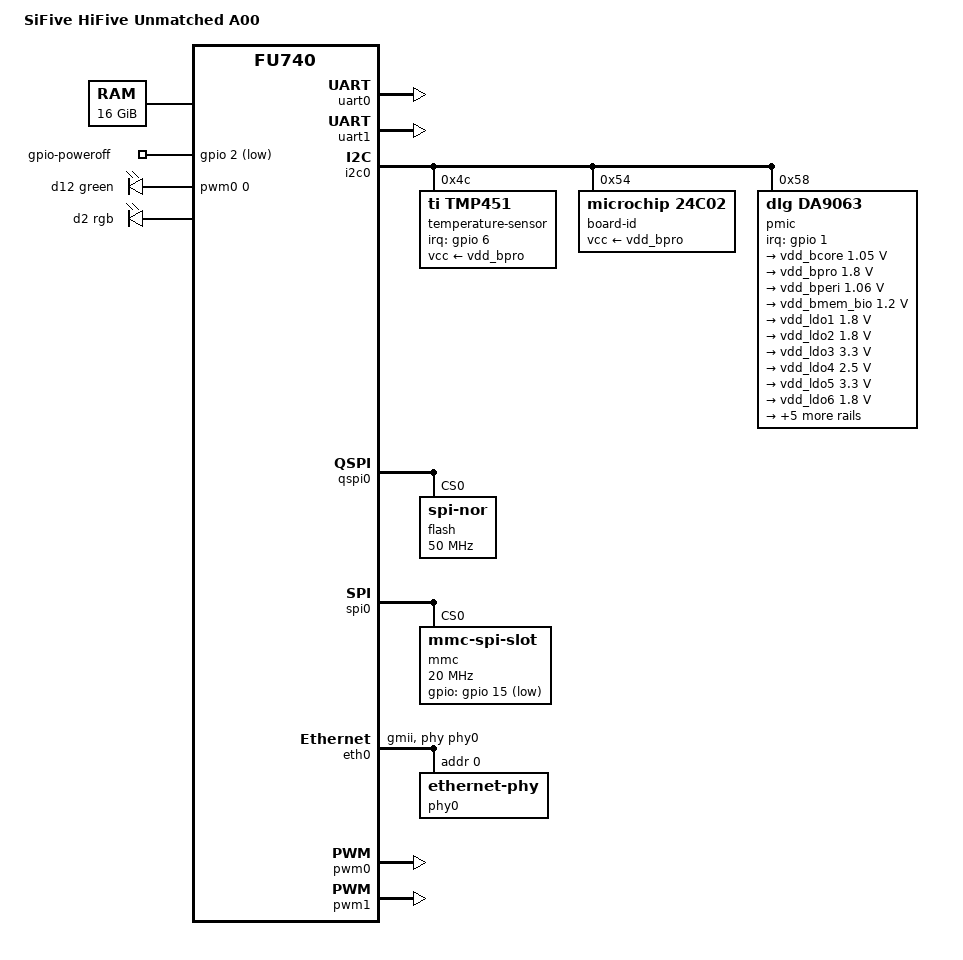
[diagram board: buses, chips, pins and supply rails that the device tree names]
// SPDX-License-Identifier: (GPL-2.0 OR MIT)
/* Copyright (c) 2020 SiFive, Inc */

#include "fu740-c000.dtsi"
#include <dt-bindings/gpio/gpio.h>
#include <dt-bindings/interrupt-controller/irq.h>
#include <dt-bindings/leds/common.h>
#include <dt-bindings/pwm/pwm.h>

/* Clock frequency (in Hz) of the PCB crystal for rtcclk */
#define RTCCLK_FREQ		1000000

/ {
	model = "SiFive HiFive Unmatched A00";
	compatible = "sifive,hifive-unmatched-a00", "sifive,fu740-c000",
		     "sifive,fu740";

	chosen {
		stdout-path = "serial0";
	};

	cpus {
		timebase-frequency = <RTCCLK_FREQ>;
	};

	memory@80000000 {
		device_type = "memory";
		reg = <0x0 0x80000000 0x4 0x00000000>;
	};

	hfclk: hfclk {
		#clock-cells = <0>;
		compatible = "fixed-clock";
		clock-frequency = <26000000>;
		clock-output-names = "hfclk";
	};

	rtcclk: rtcclk {
		#clock-cells = <0>;
		compatible = "fixed-clock";
		clock-frequency = <RTCCLK_FREQ>;
		clock-output-names = "rtcclk";
	};

	gpio-poweroff {
		compatible = "gpio-poweroff";
		gpios = <&gpio 2 GPIO_ACTIVE_LOW>;
	};

	led-controller-1 {
		compatible = "pwm-leds";

		led-d12 {
			pwms = <&pwm0 0 7812500 PWM_POLARITY_INVERTED>;
			active-low;
			color = <LED_COLOR_ID_GREEN>;
			max-brightness = <255>;
			label = "d12";
		};
	};

	led-controller-2 {
		compatible = "pwm-leds-multicolor";

		multi-led {
			color = <LED_COLOR_ID_RGB>;
			max-brightness = <255>;
			label = "d2";

			led-red {
				pwms = <&pwm0 2 7812500 PWM_POLARITY_INVERTED>;
				active-low;
				color = <LED_COLOR_ID_RED>;
			};

			led-green {
				pwms = <&pwm0 1 7812500 PWM_POLARITY_INVERTED>;
				active-low;
				color = <LED_COLOR_ID_GREEN>;
			};

			led-blue {
				pwms = <&pwm0 3 7812500 PWM_POLARITY_INVERTED>;
				active-low;
				color = <LED_COLOR_ID_BLUE>;
			};
		};
	};
};

&uart0 {
	status = "okay";
};

&uart1 {
	status = "okay";
};

&i2c0 {
	status = "okay";

	temperature-sensor@4c {
		compatible = "ti,tmp451";
		reg = <0x4c>;
		vcc-supply = <&vdd_bpro>;
		interrupt-parent = <&gpio>;
		interrupts = <6 IRQ_TYPE_LEVEL_LOW>;
	};

	eeprom@54 {
		compatible = "microchip,24c02", "atmel,24c02";
		reg = <0x54>;
		vcc-supply = <&vdd_bpro>;
		label = "board-id";
		pagesize = <16>;
		read-only;
		size = <256>;
	};

	pmic@58 {
		compatible = "dlg,da9063";
		reg = <0x58>;
		interrupt-parent = <&gpio>;
		interrupts = <1 IRQ_TYPE_LEVEL_LOW>;
		interrupt-controller;

		onkey {
			compatible = "dlg,da9063-onkey";
		};

		rtc {
			compatible = "dlg,da9063-rtc";
		};

		watchdog {
			compatible = "dlg,da9063-watchdog";
		};

		regulators {
			vdd_bcore: bcores-merged {
				regulator-min-microvolt = <1050000>;
				regulator-max-microvolt = <1050000>;
				regulator-min-microamp = <4800000>;
				regulator-max-microamp = <4800000>;
				regulator-always-on;
			};

			vdd_bpro: bpro {
				regulator-min-microvolt = <1800000>;
				regulator-max-microvolt = <1800000>;
				regulator-min-microamp = <2400000>;
				regulator-max-microamp = <2400000>;
				regulator-always-on;
			};

			vdd_bperi: bperi {
				regulator-min-microvolt = <1060000>;
				regulator-max-microvolt = <1060000>;
				regulator-min-microamp = <1500000>;
				regulator-max-microamp = <1500000>;
				regulator-always-on;
			};

			vdd_bmem_bio: bmem-bio-merged {
				regulator-min-microvolt = <1200000>;
				regulator-max-microvolt = <1200000>;
				regulator-min-microamp = <3000000>;
				regulator-max-microamp = <3000000>;
				regulator-always-on;
			};

			vdd_ldo1: ldo1 {
				regulator-min-microvolt = <1800000>;
				regulator-max-microvolt = <1800000>;
				regulator-always-on;
			};

			vdd_ldo2: ldo2 {
				regulator-min-microvolt = <1800000>;
				regulator-max-microvolt = <1800000>;
				regulator-always-on;
			};

			vdd_ldo3: ldo3 {
				regulator-min-microvolt = <3300000>;
				regulator-max-microvolt = <3300000>;
				regulator-always-on;
			};

			vdd_ldo4: ldo4 {
				regulator-min-microvolt = <2500000>;
				regulator-max-microvolt = <2500000>;
				regulator-always-on;
			};

			vdd_ldo5: ldo5 {
				regulator-min-microvolt = <3300000>;
				regulator-max-microvolt = <3300000>;
				regulator-always-on;
			};

			vdd_ldo6: ldo6 {
				regulator-min-microvolt = <1800000>;
				regulator-max-microvolt = <1800000>;
				regulator-always-on;
			};

			vdd_ldo7: ldo7 {
				regulator-min-microvolt = <3300000>;
				regulator-max-microvolt = <3300000>;
				regulator-always-on;
			};

			vdd_ldo8: ldo8 {
				regulator-min-microvolt = <3300000>;
				regulator-max-microvolt = <3300000>;
				regulator-always-on;
			};

			vdd_ld09: ldo9 {
				regulator-min-microvolt = <1050000>;
				regulator-max-microvolt = <1050000>;
				regulator-always-on;
			};

			vdd_ldo10: ldo10 {
				regulator-min-microvolt = <1000000>;
				regulator-max-microvolt = <1000000>;
				regulator-always-on;
			};

			vdd_ldo11: ldo11 {
				regulator-min-microvolt = <2500000>;
				regulator-max-microvolt = <2500000>;
				regulator-always-on;
			};
		};
	};
};

&qspi0 {
	status = "okay";
	flash@0 {
		compatible = "jedec,spi-nor";
		reg = <0>;
		spi-max-frequency = <50000000>;
		m25p,fast-read;
		spi-tx-bus-width = <4>;
		spi-rx-bus-width = <4>;
	};
};

&spi0 {
	status = "okay";
	mmc@0 {
		compatible = "mmc-spi-slot";
		reg = <0>;
		spi-max-frequency = <20000000>;
		voltage-ranges = <3300 3300>;
		disable-wp;
		gpios = <&gpio 15 GPIO_ACTIVE_LOW>;
	};
};

&eth0 {
	status = "okay";
	phy-mode = "gmii";
	phy-handle = <&phy0>;
	phy0: ethernet-phy@0 {
		reg = <0>;
	};
};

&pwm0 {
	status = "okay";
};

&pwm1 {
	status = "okay";
};

&gpio {
	status = "okay";
	gpio-line-names = "J29.1", "PMICNTB", "PMICSHDN", "J8.1", "J8.3",
		"PCIe_PWREN", "THERM", "UBRDG_RSTN", "PCIe_PERSTN",
		"ULPI_RSTN", "J8.2", "UHUB_RSTN", "GEMGXL_RST", "J8.4",
		"EN_VDD_SD", "SD_CD";
};
